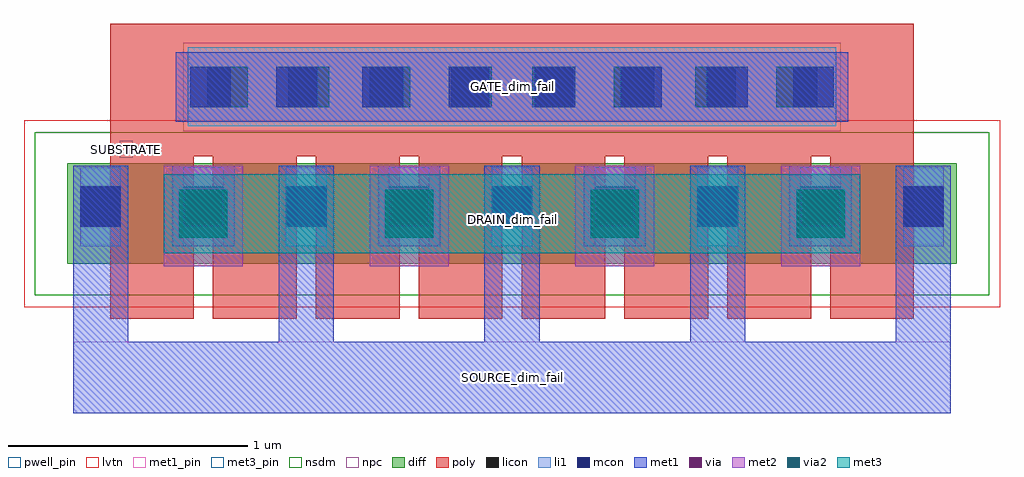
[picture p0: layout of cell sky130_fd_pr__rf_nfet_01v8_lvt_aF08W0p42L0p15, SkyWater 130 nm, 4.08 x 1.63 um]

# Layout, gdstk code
import gdstk
lib = gdstk.Library(unit=1e-6, precision=1e-09)
def R(c, l, rs):  # rectangles x0, y0, x1, y1
    for r in rs: c.add(gdstk.rectangle(r[:2], r[2:], *l))
def A(c, l, x, y, w, h, nx, ny, dx, dy):  # array of equal rectangles
    R(c, l, [(x+i*dx, y+j*dy, x+i*dx+w, y+j*dy+h) for i in range(nx) for j in range(ny)])
def P(c, l, *ps):  # polygons
    for p in ps: c.add(gdstk.Polygon(p, *l))
diff = (65, 20)
poly = (66, 20)
licon = (66, 44)
li1 = (67, 20)
mcon = (67, 44)
met1_pin = (68, 16)
met1 = (68, 20)
via = (68, 44)
met2 = (69, 20)
via2 = (69, 44)
met3_pin = (70, 16)
met3 = (70, 20)
nsdm = (93, 44)
npc = (95, 20)
pwell_pin = (122, 16)
lvtn = (125, 44)

sky130_fd_pr__rf_nfet_01 = lib.new_cell('sky130_fd_pr__rf_nfet_01v8_lvt_aF08W0p42L0p15')
A(sky130_fd_pr__rf_nfet_01, diff, 0.18, 0.18, 0.28, 0.42, 3, 1, 0.43, 0)
A(sky130_fd_pr__rf_nfet_01, diff, 0.21, 0.18, 0.25, 0.42, 4, 1, 0.86, 0)
A(sky130_fd_pr__rf_nfet_01, diff, 0.46, 0.18, 0.15, 0.42, 8, 1, 0.43, 0)
A(sky130_fd_pr__rf_nfet_01, diff, 1.04, 0.18, 0.28, 0.42, 3, 1, 0.43, 0)
A(sky130_fd_pr__rf_nfet_01, diff, 1.9, 0.18, 0.28, 0.42, 3, 1, 0.43, 0)
A(sky130_fd_pr__rf_nfet_01, diff, 2.76, 0.18, 0.28, 0.42, 3, 1, 0.43, 0)
R(sky130_fd_pr__rf_nfet_01, diff, [(3.62,0.18,3.9,0.6), (3.62,0.18,3.87,0.6), (3.65,0.18,3.9,0.6)])
P(sky130_fd_pr__rf_nfet_01, poly, [(0.36,-0.05),(0.36,1.185),(3.72,1.185),(3.72,-0.05),(3.37,-0.05),(3.37,0.63),(3.29,0.63),(3.29,-0.05),(2.94,-0.05),(2.94,0.63),(2.86,0.63),(2.86,-0.05),(2.51,-0.05),(2.51,0.63),(2.43,0.63),(2.43,-0.05),(2.08,-0.05),(2.08,0.63),(2,0.63),(2,-0.05),(1.65,-0.05),(1.65,0.63),(1.57,0.63),(1.57,-0.05),(1.22,-0.05),(1.22,0.63),(1.14,0.63),(1.14,-0.05),(0.79,-0.05),(0.79,0.63),(0.71,0.63),(0.71,-0.05)])
A(sky130_fd_pr__rf_nfet_01, licon, 0.235, 0.335, 0.17, 0.17, 9, 1, 0.43, 0)
A(sky130_fd_pr__rf_nfet_01, licon, 0.765, 0.835, 0.17, 0.17, 8, 1, 0.34, 0)
A(sky130_fd_pr__rf_nfet_01, li1, 0.235, 0.255, 0.17, 0.33, 9, 1, 0.43, 0)
R(sky130_fd_pr__rf_nfet_01, li1, [(0.685,0.755,3.395,1.085), (0.695,0.835,3.385,1.005)])
A(sky130_fd_pr__rf_nfet_01, mcon, 0.235, 0.335, 0.17, 0.17, 9, 1, 0.43, 0)
A(sky130_fd_pr__rf_nfet_01, mcon, 0.695, 0.835, 0.17, 0.17, 8, 1, 0.36, 0)
R(sky130_fd_pr__rf_nfet_01, met1_pin, [(0.205,-0.445,3.875,-0.145), (0.635,0.775,3.445,1.065)])
A(sky130_fd_pr__rf_nfet_01, met1, 0.62, 0.275, 0.26, 0.23, 4, 1, 0.86, 0)
R(sky130_fd_pr__rf_nfet_01, met1, [(0.635,0.775,3.445,1.065)])
A(sky130_fd_pr__rf_nfet_01, via, 0.675, 0.345, 0.15, 0.15, 4, 1, 0.86, 0)
A(sky130_fd_pr__rf_nfet_01, met2, 0.585, 0.17, 0.33, 0.42, 4, 1, 0.86, 0)
A(sky130_fd_pr__rf_nfet_01, met2, 0.62, 0.27, 0.26, 0.22, 4, 1, 0.86, 0)
A(sky130_fd_pr__rf_nfet_01, via2, 0.65, 0.29, 0.2, 0.2, 4, 1, 0.86, 0)
R(sky130_fd_pr__rf_nfet_01, met3_pin, [(0.585,0.225,3.495,0.555)])
A(sky130_fd_pr__rf_nfet_01, nsdm, 0.21, 0.05, 0.4, 0.68, 7, 1, 0.43, 0)
A(sky130_fd_pr__rf_nfet_01, nsdm, 0.48, 0.05, 0.54, 0.68, 7, 1, 0.43, 0)
R(sky130_fd_pr__rf_nfet_01, nsdm, [(0.045,0.05,0.59,0.73), (3.22,0.05,3.87,0.73), (3.49,0.05,4.035,0.73)])
R(sky130_fd_pr__rf_nfet_01, npc, [(0.665,0.735,3.415,1.105)])
R(sky130_fd_pr__rf_nfet_01, pwell_pin, [(0.4,0.625,0.455,0.695)])
R(sky130_fd_pr__rf_nfet_01, lvtn, [(0,0,4.08,0.78)])
sky130_fd_pr__rf_nfet_01.add(gdstk.FlexPath([(0.585,0.39),(3.495,0.39)], 0.33, ends="flush", simple_path=True, layer=70, datatype=20))  # met3
sky130_fd_pr__rf_nfet_01.add(gdstk.FlexPath([(2.9,0.59),(2.9,-0.445)], 0.23, ends="flush", simple_path=True, layer=68, datatype=20))  # met1
sky130_fd_pr__rf_nfet_01.add(gdstk.FlexPath([(3.76,0.59),(3.76,-0.445)], 0.23, ends="flush", simple_path=True, layer=68, datatype=20))  # met1
sky130_fd_pr__rf_nfet_01.add(gdstk.FlexPath([(2.04,0.59),(2.04,-0.445)], 0.23, ends="flush", simple_path=True, layer=68, datatype=20))  # met1
sky130_fd_pr__rf_nfet_01.add(gdstk.FlexPath([(0.205,-0.295),(3.875,-0.295)], 0.3, ends="flush", simple_path=True, layer=68, datatype=20))  # met1
sky130_fd_pr__rf_nfet_01.add(gdstk.FlexPath([(1.18,0.59),(1.18,-0.445)], 0.23, ends="flush", simple_path=True, layer=68, datatype=20))  # met1
sky130_fd_pr__rf_nfet_01.add(gdstk.FlexPath([(3.33,0.59),(3.33,0.255)], 0.26, ends="flush", simple_path=True, layer=68, datatype=20))  # met1
sky130_fd_pr__rf_nfet_01.add(gdstk.FlexPath([(2.47,0.59),(2.47,0.255)], 0.26, ends="flush", simple_path=True, layer=68, datatype=20))  # met1
sky130_fd_pr__rf_nfet_01.add(gdstk.FlexPath([(1.61,0.59),(1.61,0.255)], 0.26, ends="flush", simple_path=True, layer=68, datatype=20))  # met1
sky130_fd_pr__rf_nfet_01.add(gdstk.FlexPath([(0.75,0.59),(0.75,0.255)], 0.26, ends="flush", simple_path=True, layer=68, datatype=20))  # met1
sky130_fd_pr__rf_nfet_01.add(gdstk.FlexPath([(0.32,0.59),(0.32,-0.445)], 0.23, ends="flush", simple_path=True, layer=68, datatype=20))  # met1
sky130_fd_pr__rf_nfet_01.add(gdstk.Label('DRAIN_dim_fail', (2.04,0.365), layer=70, texttype=16))
sky130_fd_pr__rf_nfet_01.add(gdstk.Label('SOURCE_dim_fail', (2.04,-0.295), layer=68, texttype=16))
sky130_fd_pr__rf_nfet_01.add(gdstk.Label('GATE_dim_fail', (2.04,0.92), layer=68, texttype=16))
sky130_fd_pr__rf_nfet_01.add(gdstk.Label('SUBSTRATE', (0.43,0.66), layer=64, texttype=59))

lib.write_gds('sky130_fd_pr__rf_nfet_01v8_lvt_aF08W0p42L0p15.gds')
